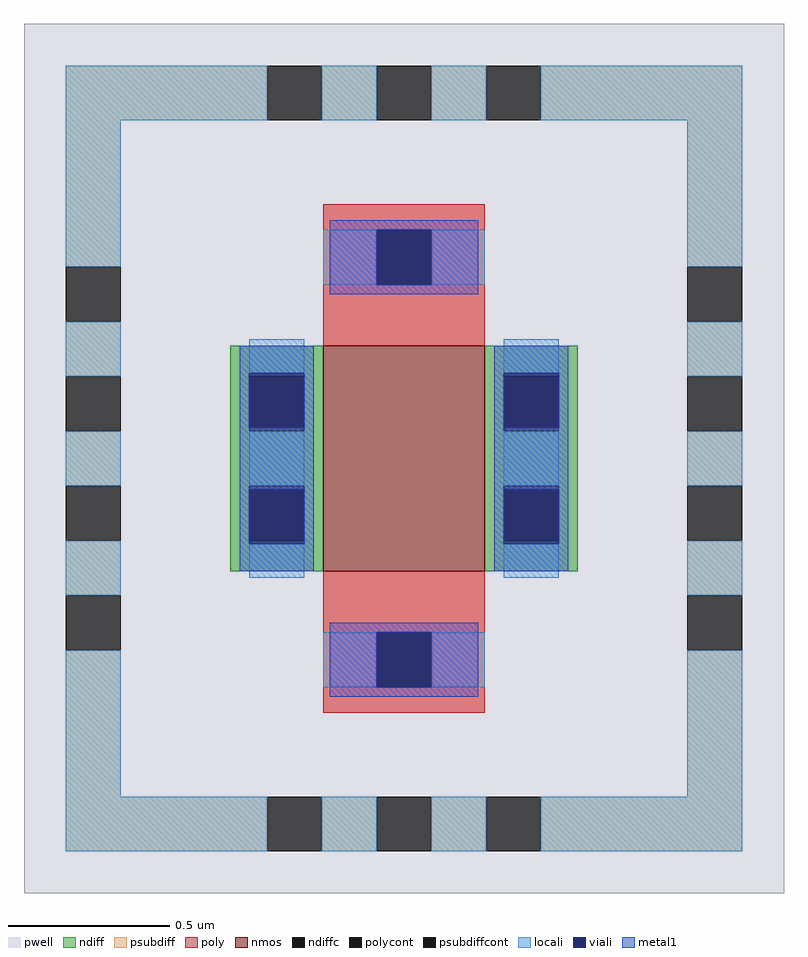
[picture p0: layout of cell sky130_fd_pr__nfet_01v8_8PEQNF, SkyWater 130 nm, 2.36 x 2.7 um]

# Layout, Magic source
magic
tech sky130A
magscale 1 2
<< pwell >>
rect -236 -270 236 270
<< nmos >>
rect -50 -70 50 70
<< ndiff >>
rect -108 51 -50 70
rect -108 17 -96 51
rect -62 17 -50 51
rect -108 -17 -50 17
rect -108 -51 -96 -17
rect -62 -51 -50 -17
rect -108 -70 -50 -51
rect 50 51 108 70
rect 50 17 62 51
rect 96 17 108 51
rect 50 -17 108 17
rect 50 -51 62 -17
rect 96 -51 108 -17
rect 50 -70 108 -51
<< ndiffc >>
rect -96 17 -62 51
rect -96 -51 -62 -17
rect 62 17 96 51
rect 62 -51 96 -17
<< psubdiff >>
rect -210 210 -85 244
rect -51 210 -17 244
rect 17 210 51 244
rect 85 210 210 244
rect -210 119 -176 210
rect -210 51 -176 85
rect 176 119 210 210
rect -210 -17 -176 17
rect -210 -85 -176 -51
rect 176 51 210 85
rect 176 -17 210 17
rect -210 -210 -176 -119
rect 176 -85 210 -51
rect 176 -210 210 -119
rect -210 -244 -85 -210
rect -51 -244 -17 -210
rect 17 -244 51 -210
rect 85 -244 210 -210
<< psubdiffcont >>
rect -85 210 -51 244
rect -17 210 17 244
rect 51 210 85 244
rect -210 85 -176 119
rect 176 85 210 119
rect -210 17 -176 51
rect -210 -51 -176 -17
rect 176 17 210 51
rect 176 -51 210 -17
rect -210 -119 -176 -85
rect 176 -119 210 -85
rect -85 -244 -51 -210
rect -17 -244 17 -210
rect 51 -244 85 -210
<< poly >>
rect -50 142 50 158
rect -50 108 -17 142
rect 17 108 50 142
rect -50 70 50 108
rect -50 -108 50 -70
rect -50 -142 -17 -108
rect 17 -142 50 -108
rect -50 -158 50 -142
<< polycont >>
rect -17 108 17 142
rect -17 -142 17 -108
<< locali >>
rect -210 210 -85 244
rect -51 210 -17 244
rect 17 210 51 244
rect 85 210 210 244
rect -210 119 -176 210
rect -50 108 -17 142
rect 17 108 50 142
rect 176 119 210 210
rect -210 51 -176 85
rect -210 -17 -176 17
rect -210 -85 -176 -51
rect -96 53 -62 74
rect -96 -17 -62 17
rect -96 -74 -62 -53
rect 62 53 96 74
rect 62 -17 96 17
rect 62 -74 96 -53
rect 176 51 210 85
rect 176 -17 210 17
rect 176 -85 210 -51
rect -210 -210 -176 -119
rect -50 -142 -17 -108
rect 17 -142 50 -108
rect 176 -210 210 -119
rect -210 -244 -85 -210
rect -51 -244 -17 -210
rect 17 -244 51 -210
rect 85 -244 210 -210
<< viali >>
rect -17 108 17 142
rect -96 51 -62 53
rect -96 19 -62 51
rect -96 -51 -62 -19
rect -96 -53 -62 -51
rect 62 51 96 53
rect 62 19 96 51
rect 62 -51 96 -19
rect 62 -53 96 -51
rect -17 -142 17 -108
<< metal1 >>
rect -46 142 46 148
rect -46 108 -17 142
rect 17 108 46 142
rect -46 102 46 108
rect -102 53 -56 70
rect -102 19 -96 53
rect -62 19 -56 53
rect -102 -19 -56 19
rect -102 -53 -96 -19
rect -62 -53 -56 -19
rect -102 -70 -56 -53
rect 56 53 102 70
rect 56 19 62 53
rect 96 19 102 53
rect 56 -19 102 19
rect 56 -53 62 -19
rect 96 -53 102 -19
rect 56 -70 102 -53
rect -46 -108 46 -102
rect -46 -142 -17 -108
rect 17 -142 46 -108
rect -46 -148 46 -142
<< properties >>
string FIXED_BBOX -192 -226 192 226
<< end >>
